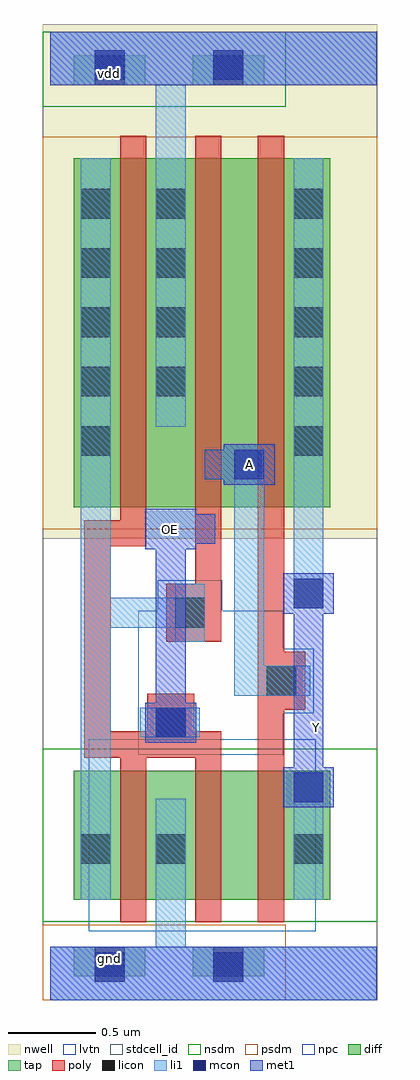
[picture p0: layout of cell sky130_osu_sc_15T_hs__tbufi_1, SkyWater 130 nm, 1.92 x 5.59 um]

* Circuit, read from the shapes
.subckt sky130_osu_sc_15T_hs__tbufi_1 A OE Y gnd vdd
XM1 gnd OE n1 gnd sky130_fd_pr__nfet_01v8_lvt w=0.74 l=0.15
XM2 n2 OE gnd gnd sky130_fd_pr__nfet_01v8_lvt w=0.74 l=0.15
XM3 Y A n2 gnd sky130_fd_pr__nfet_01v8_lvt w=0.74 l=0.15
XM4 vdd OE n1 vdd sky130_fd_pr__pfet_01v8 w=2 l=0.15
XM5 n3 n1 vdd vdd sky130_fd_pr__pfet_01v8 w=2 l=0.15
XM6 Y A n3 vdd sky130_fd_pr__pfet_01v8 w=2 l=0.15
.ends

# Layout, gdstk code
import gdstk
lib = gdstk.Library(unit=1e-6, precision=1e-09)
def R(c, l, rs):  # rectangles x0, y0, x1, y1
    for r in rs: c.add(gdstk.rectangle(r[:2], r[2:], *l))
def A(c, l, x, y, w, h, nx, ny, dx, dy):  # array of equal rectangles
    R(c, l, [(x+i*dx, y+j*dy, x+i*dx+w, y+j*dy+h) for i in range(nx) for j in range(ny)])
nwell = (64, 20)
diff = (65, 20)
tap = (65, 44)
poly = (66, 20)
licon = (66, 44)
li1 = (67, 20)
mcon = (67, 44)
met1 = (68, 20)
stdcell_id = (81, 4)
nsdm = (93, 44)
psdm = (94, 20)
npc = (95, 20)
lvtn = (125, 44)

sky130_osu_sc_15t_hs__tb = lib.new_cell('sky130_osu_sc_15T_hs__tbufi_1')
R(sky130_osu_sc_15t_hs__tb, nwell, [(-0.045,2.645,1.875,5.595)])
R(sky130_osu_sc_15t_hs__tb, diff, [(0.135,0.575,1.605,1.315), (0.135,2.825,1.605,4.825)])
R(sky130_osu_sc_15t_hs__tb, tap, [(0.135,0.135,0.545,0.305), (0.815,0.135,1.225,0.305), (0.135,5.245,0.545,5.415), (0.815,5.245,1.225,5.415)])
R(sky130_osu_sc_15t_hs__tb, poly, [(0.4,0.445,0.55,1.39), (0.83,0.445,0.98,1.39), (1.19,0.445,1.34,1.665), (0.195,1.39,0.98,1.54), (0.195,1.54,0.345,2.6), (0.555,1.54,0.825,1.755), (1.19,1.665,1.46,1.995), (1.19,1.995,1.34,4.955), (0.665,2.055,0.98,2.385), (0.83,2.385,0.98,4.955), (0.195,2.6,0.55,2.75), (0.4,2.75,0.55,4.955)])
A(sky130_osu_sc_15t_hs__tb, licon, 0.175, 3.12, 0.17, 0.17, 1, 5, 0, 0.34)
A(sky130_osu_sc_15t_hs__tb, licon, 1.395, 3.12, 0.17, 0.17, 1, 5, 0, 0.34)
A(sky130_osu_sc_15t_hs__tb, licon, 0.605, 3.46, 0.17, 0.17, 1, 4, 0, 0.34)
R(sky130_osu_sc_15t_hs__tb, licon, [(0.255,0.135,0.425,0.305), (0.935,0.135,1.105,0.305), (0.175,0.78,0.345,0.95), (0.605,0.78,0.775,0.95), (1.395,0.78,1.565,0.95), (0.605,1.505,0.775,1.675), (1.24,1.745,1.41,1.915), (0.715,2.135,0.885,2.305), (0.255,5.245,0.425,5.415), (0.935,5.245,1.105,5.415)])
R(sky130_osu_sc_15t_hs__tb, li1, [(0,0,1.87,0.305), (0.605,0.305,0.775,1.155), (0.175,0.575,0.345,2.135), (1.395,0.575,1.565,1.305), (0.515,1.505,0.855,1.675), (1.055,1.745,1.49,1.915), (1.055,1.915,1.225,3.155), (0.715,2.055,0.885,2.135), (0.175,2.135,0.885,2.305), (1.395,2.245,1.565,4.825), (0.175,2.305,0.345,4.825), (0.715,2.305,0.885,2.385), (0.605,3.285,0.775,5.245), (0,5.245,1.87,5.55)])
R(sky130_osu_sc_15t_hs__tb, mcon, [(0.255,0.105,0.425,0.275), (0.935,0.105,1.105,0.275), (1.395,1.135,1.565,1.305), (0.605,1.505,0.775,1.675), (1.395,2.245,1.565,2.415), (1.055,2.985,1.225,3.155), (0.255,5.275,0.425,5.445), (0.935,5.275,1.105,5.445)])
R(sky130_osu_sc_15t_hs__tb, met1, [(0,0,1.87,0.305), (1.335,1.105,1.625,1.335), (1.395,1.335,1.565,2.215), (0.545,1.475,0.835,1.705), (0.605,1.705,0.775,2.585), (1.335,2.215,1.625,2.445), (0.545,2.585,0.835,2.615), (0.545,2.615,0.945,2.785), (0.545,2.785,0.835,2.815), (0.995,2.955,1.285,2.985), (0.885,2.985,1.285,3.155), (0.995,3.155,1.285,3.185), (0,5.245,1.87,5.55)])
R(sky130_osu_sc_15t_hs__tb, stdcell_id, [(-0.045,0,1.875,5.55)])
R(sky130_osu_sc_15t_hs__tb, nsdm, [(-0.045,0.45,1.875,1.44), (-0.045,5.12,1.35,5.55)])
R(sky130_osu_sc_15t_hs__tb, psdm, [(-0.045,0,1.35,0.43), (-0.045,2.7,1.875,4.95)])
R(sky130_osu_sc_15t_hs__tb, npc, [(0.505,1.405,1.335,1.645), (0.505,1.645,1.51,2.015), (0.505,2.015,1.335,2.23), (0.615,2.23,0.985,2.405)])
R(sky130_osu_sc_15t_hs__tb, lvtn, [(0.22,0.395,1.52,1.495)])
sky130_osu_sc_15t_hs__tb.add(gdstk.Label('gnd', (0.34,0.24), layer=68, texttype=16))
sky130_osu_sc_15t_hs__tb.add(gdstk.Label('vdd', (0.34,5.31), layer=68, texttype=16))
sky130_osu_sc_15t_hs__tb.add(gdstk.Label('Y', (1.525,1.56), layer=68, texttype=5))
sky130_osu_sc_15t_hs__tb.add(gdstk.Label('A', (1.14,3.07), layer=68, texttype=5))
sky130_osu_sc_15t_hs__tb.add(gdstk.Label('OE', (0.69,2.7), layer=68, texttype=5))

lib.write_gds('sky130_osu_sc_15T_hs__tbufi_1.gds')
